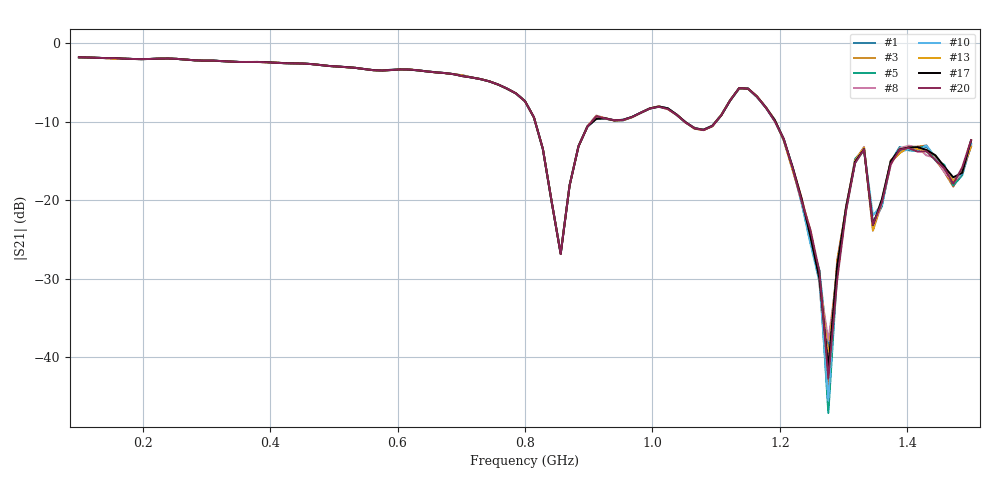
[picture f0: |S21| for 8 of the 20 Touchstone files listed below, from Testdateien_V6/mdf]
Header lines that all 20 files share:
! NanoVNA-App
! Start: 100MHz Stop: 1,5GHz Points: 101
! S-Parameter data: F S11 S21 S12 S22
# Hz S RI R 50
!  Frequency  S11_Real  S11_Imag  S21_Real  S21_Imag  S12_Real  S12_Imag  S22_Real  S22_Imag
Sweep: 100 MHz to 1.5 GHz
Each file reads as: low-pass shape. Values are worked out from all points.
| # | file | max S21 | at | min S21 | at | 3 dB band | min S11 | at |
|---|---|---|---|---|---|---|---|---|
| 1 | mdf (175).s2p | -1.79 dB | 100 MHz | -39.4 dB | 1.276 GHz | 100 MHz-730 MHz | -39.2 dB | 128 MHz |
| 2 | mdf (176).s2p | -1.79 dB | 100 MHz | -42.6 dB | 1.276 GHz | 100 MHz-730 MHz | -39.2 dB | 128 MHz |
| 3 | mdf (177).s2p | -1.79 dB | 100 MHz | -44.3 dB | 1.276 GHz | 100 MHz-730 MHz | -39.2 dB | 128 MHz |
| 4 | mdf (178).s2p | -1.79 dB | 100 MHz | -41.6 dB | 1.276 GHz | 100 MHz-730 MHz | -39.2 dB | 128 MHz |
| 5 | mdf (179).s2p | -1.79 dB | 100 MHz | -47.1 dB | 1.276 GHz | 100 MHz-730 MHz | -39.2 dB | 128 MHz |
| 6 | mdf (180).s2p | -1.79 dB | 100 MHz | -41.4 dB | 1.276 GHz | 100 MHz-730 MHz | -39.3 dB | 128 MHz |
| 7 | mdf (181).s2p | -1.79 dB | 100 MHz | -40.5 dB | 1.276 GHz | 100 MHz-730 MHz | -39.2 dB | 128 MHz |
| 8 | mdf (182).s2p | -1.79 dB | 100 MHz | -37.8 dB | 1.276 GHz | 100 MHz-730 MHz | -39.2 dB | 128 MHz |
| 9 | mdf (183).s2p | -1.79 dB | 100 MHz | -39.2 dB | 1.276 GHz | 100 MHz-730 MHz | -39.2 dB | 128 MHz |
| 10 | mdf (184).s2p | -1.79 dB | 100 MHz | -45.6 dB | 1.276 GHz | 100 MHz-730 MHz | -39.2 dB | 128 MHz |
| 11 | mdf (185).s2p | -1.79 dB | 100 MHz | -41.2 dB | 1.276 GHz | 100 MHz-730 MHz | -39.2 dB | 128 MHz |
| 12 | mdf (186).s2p | -1.79 dB | 100 MHz | -43.3 dB | 1.276 GHz | 100 MHz-730 MHz | -39.2 dB | 128 MHz |
| 13 | mdf (187).s2p | -1.79 dB | 100 MHz | -40.1 dB | 1.276 GHz | 100 MHz-730 MHz | -39.2 dB | 128 MHz |
| 14 | mdf (188).s2p | -1.79 dB | 100 MHz | -39.9 dB | 1.276 GHz | 100 MHz-730 MHz | -39.2 dB | 128 MHz |
| 15 | mdf (189).s2p | -1.79 dB | 100 MHz | -44.3 dB | 1.276 GHz | 100 MHz-730 MHz | -39.2 dB | 128 MHz |
| 16 | mdf (190).s2p | -1.79 dB | 100 MHz | -41.6 dB | 1.276 GHz | 100 MHz-730 MHz | -39.2 dB | 128 MHz |
| 17 | mdf (191).s2p | -1.79 dB | 100 MHz | -41.3 dB | 1.276 GHz | 100 MHz-730 MHz | -39.2 dB | 128 MHz |
| 18 | mdf (192).s2p | -1.79 dB | 100 MHz | -45.1 dB | 1.276 GHz | 100 MHz-730 MHz | -39.2 dB | 128 MHz |
| 19 | mdf (193).s2p | -1.79 dB | 100 MHz | -40.8 dB | 1.276 GHz | 100 MHz-730 MHz | -39.2 dB | 128 MHz |
| 20 | mdf (194).s2p | -1.79 dB | 100 MHz | -42.7 dB | 1.276 GHz | 100 MHz-730 MHz | -39.2 dB | 128 MHz |
